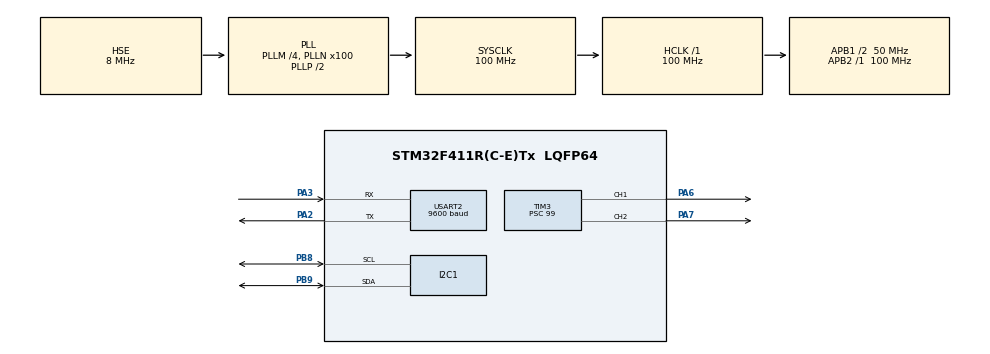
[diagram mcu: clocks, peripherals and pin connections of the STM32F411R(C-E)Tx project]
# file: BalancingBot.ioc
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Dma.Request0=USART2_RX
Dma.USART2_RX.0.Direction=DMA_PERIPH_TO_MEMORY
Dma.USART2_RX.0.FIFOMode=DMA_FIFOMODE_DISABLE
Dma.USART2_RX.0.Instance=DMA1_Stream5
Dma.USART2_RX.0.MemDataAlignment=DMA_MDATAALIGN_BYTE
Dma.USART2_RX.0.MemInc=DMA_MINC_ENABLE
Dma.USART2_RX.0.Mode=DMA_NORMAL
Dma.USART2_RX.0.PeriphDataAlignment=DMA_PDATAALIGN_BYTE
Dma.USART2_RX.0.PeriphInc=DMA_PINC_DISABLE
Dma.USART2_RX.0.Priority=DMA_PRIORITY_LOW
I2C1.NoStretchMode=I2C_NOSTRETCH_ENABLE
Mcu.Family=STM32F4
Mcu.Name=STM32F411R(C-E)Tx
Mcu.Package=LQFP64
NVIC.DMA1_Stream5_IRQn=true\:0\:0\:false\:false\:true\:false\:true\:true
NVIC.PriorityGroup=NVIC_PRIORITYGROUP_4
NVIC.USART2_IRQn=true\:0\:0\:false\:false\:true\:true\:true\:true
PA13.Mode=Serial_Wire
PA13.Signal=SYS_JTMS-SWDIO
PA14.Mode=Serial_Wire
PA14.Signal=SYS_JTCK-SWCLK
PA2.Mode=Asynchronous
PA2.Signal=USART2_TX
PA3.Mode=Asynchronous
PA3.Signal=USART2_RX
PA6.Signal=S_TIM3_CH1
PA7.Signal=S_TIM3_CH2
PB8.Mode=I2C
PB8.Signal=I2C1_SCL
PB9.Mode=I2C
PB9.Signal=I2C1_SDA
PC14-OSC32_IN.Mode=LSE-External-Oscillator
PC14-OSC32_IN.Signal=RCC_OSC32_IN
PC15-OSC32_OUT.Mode=LSE-External-Oscillator
PC15-OSC32_OUT.Signal=RCC_OSC32_OUT
PH0\ -\ OSC_IN.Mode=HSE-External-Oscillator
PH0\ -\ OSC_IN.Signal=RCC_OSC_IN
PH1\ -\ OSC_OUT.Mode=HSE-External-Oscillator
PH1\ -\ OSC_OUT.Signal=RCC_OSC_OUT
ProjectManager.HeapSize=0x200
ProjectManager.StackSize=0x400
ProjectManager.TargetToolchain=STM32CubeIDE
RCC.48MHZClocksFreq_Value=50000000
RCC.AHBFreq_Value=100000000
RCC.APB1CLKDivider=RCC_HCLK_DIV2
RCC.APB1Freq_Value=50000000
RCC.APB1TimFreq_Value=100000000
RCC.APB2Freq_Value=100000000
RCC.APB2TimFreq_Value=100000000
RCC.CortexFreq_Value=100000000
RCC.HCLKFreq_Value=100000000
RCC.HSE_VALUE=8000000
RCC.HSI_VALUE=16000000
RCC.PLLM=4
RCC.PLLN=100
RCC.PLLSourceVirtual=RCC_PLLSOURCE_HSE
RCC.SYSCLKFreq_VALUE=100000000
RCC.SYSCLKSource=RCC_SYSCLKSOURCE_PLLCLK
RCC.VCOOutputFreq_Value=200000000
SH.S_TIM3_CH1.0=TIM3_CH1,PWM Generation1 CH1
SH.S_TIM3_CH2.0=TIM3_CH2,PWM Generation2 CH2
TIM3.AutoReloadPreload=TIM_AUTORELOAD_PRELOAD_ENABLE
TIM3.Channel-PWM\ Generation1\ CH1=TIM_CHANNEL_1
TIM3.Channel-PWM\ Generation2\ CH2=TIM_CHANNEL_2
TIM3.Period=999
TIM3.Prescaler=99
USART2.BaudRate=9600
USART2.VirtualMode=VM_ASYNC
board=custom

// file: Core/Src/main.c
/* USER CODE BEGIN Header */
/**
  ******************************************************************************
  * @file           : main.c
  * @brief          : Main program body
  ******************************************************************************
  * @attention
  *
  * Copyright (c) 2026 STMicroelectronics.
  * All rights reserved.
  *
  * This software is licensed under terms that can be found in the LICENSE file
  * in the root directory of this software component.
  * If no LICENSE file comes with this software, it is provided AS-IS.
  *
  ******************************************************************************
  */
/* USER CODE END Header */
#include "main.h"
/* USER CODE BEGIN Includes */
#include <stdlib.h>

#include "../App/PID_SVC/PID_svc.h"
/* USER CODE END Includes */

I2C_HandleTypeDef hi2c1;

TIM_HandleTypeDef htim3;

UART_HandleTypeDef huart2;
DMA_HandleTypeDef hdma_usart2_rx;

/* USER CODE BEGIN PV */
uint8_t rx_data;
char rx_buffer[20];
uint8_t rx_index = 0;
uint8_t rx_flag = 0;

extern PID_Controller bal_pid;
/* USER CODE END PV */

void SystemClock_Config(void);
static void MX_GPIO_Init(void);
static void MX_DMA_Init(void);
static void MX_I2C1_Init(void);
static void MX_TIM3_Init(void);
static void MX_USART2_UART_Init(void);

int main(void)
{

  /* MCU Configuration--------------------------------------------------------*/

  /* Reset of all peripherals, Initializes the Flash interface and the Systick. */
  HAL_Init();

  /* Configure the system clock */
  SystemClock_Config();

  /* Initialize all configured peripherals */
  MX_GPIO_Init();
  MX_DMA_Init();
  MX_I2C1_Init();
  MX_TIM3_Init();
  MX_USART2_UART_Init();
  /* USER CODE BEGIN 2 */
HAL_UART_Receive_IT(&huart2, &rx_data,1);
  /* USER CODE END 2 */

  /* Infinite loop */
  while (1)
  {

    /* USER CODE BEGIN 3 */
	  if(rx_flag == 1)
	  {
		  float new_value = atof(&rx_buffer[2]);
		  switch(rx_buffer[0])
		  {
			  case 'P' :
				  bal_pid.pid_kp = new_value;
				  break;
			  case 'I' :
				  bal_pid.pid_ki = new_value;
				  bal_pid.i_integral = 0.0f;
				  break;
			  case 'D' :
				  bal_pid.pid_kd = new_value;
				  break;
		  }
		  rx_index = 0;
		  rx_flag = 0;
	  }
  }
  /* USER CODE END 3 */
}

void SystemClock_Config(void)
{
  RCC_OscInitTypeDef RCC_OscInitStruct = {0};
  RCC_ClkInitTypeDef RCC_ClkInitStruct = {0};

  /** Configure the main internal regulator output voltage
  */
  __HAL_RCC_PWR_CLK_ENABLE();
  __HAL_PWR_VOLTAGESCALING_CONFIG(PWR_REGULATOR_VOLTAGE_SCALE1);

  /** Initializes the RCC Oscillators according to the specified parameters
  * in the RCC_OscInitTypeDef structure.
  */
  RCC_OscInitStruct.OscillatorType = RCC_OSCILLATORTYPE_HSE;
  RCC_OscInitStruct.HSEState = RCC_HSE_ON;
  RCC_OscInitStruct.PLL.PLLState = RCC_PLL_ON;
  RCC_OscInitStruct.PLL.PLLSource = RCC_PLLSOURCE_HSE;
  RCC_OscInitStruct.PLL.PLLM = 4;
  RCC_OscInitStruct.PLL.PLLN = 100;
  RCC_OscInitStruct.PLL.PLLP = RCC_PLLP_DIV2;
  RCC_OscInitStruct.PLL.PLLQ = 4;
  if (HAL_RCC_OscConfig(&RCC_OscInitStruct) != HAL_OK)
  {
    Error_Handler();
  }

  /** Initializes the CPU, AHB and APB buses clocks
  */
  RCC_ClkInitStruct.ClockType = RCC_CLOCKTYPE_HCLK|RCC_CLOCKTYPE_SYSCLK
                              |RCC_CLOCKTYPE_PCLK1|RCC_CLOCKTYPE_PCLK2;
  RCC_ClkInitStruct.SYSCLKSource = RCC_SYSCLKSOURCE_PLLCLK;
  RCC_ClkInitStruct.AHBCLKDivider = RCC_SYSCLK_DIV1;
  RCC_ClkInitStruct.APB1CLKDivider = RCC_HCLK_DIV2;
  RCC_ClkInitStruct.APB2CLKDivider = RCC_HCLK_DIV1;

  if (HAL_RCC_ClockConfig(&RCC_ClkInitStruct, FLASH_LATENCY_3) != HAL_OK)
  {
    Error_Handler();
  }
}

static void MX_I2C1_Init(void)
{

  hi2c1.Instance = I2C1;
  hi2c1.Init.ClockSpeed = 100000;
  hi2c1.Init.DutyCycle = I2C_DUTYCYCLE_2;
  hi2c1.Init.OwnAddress1 = 0;
  hi2c1.Init.AddressingMode = I2C_ADDRESSINGMODE_7BIT;
  hi2c1.Init.DualAddressMode = I2C_DUALADDRESS_DISABLE;
  hi2c1.Init.OwnAddress2 = 0;
  hi2c1.Init.GeneralCallMode = I2C_GENERALCALL_DISABLE;
  hi2c1.Init.NoStretchMode = I2C_NOSTRETCH_ENABLE;
  if (HAL_I2C_Init(&hi2c1) != HAL_OK)
  {
    Error_Handler();
  }

}

static void MX_TIM3_Init(void)
{

  TIM_MasterConfigTypeDef sMasterConfig = {0};
  TIM_OC_InitTypeDef sConfigOC = {0};

  htim3.Instance = TIM3;
  htim3.Init.Prescaler = 99;
  htim3.Init.CounterMode = TIM_COUNTERMODE_UP;
  htim3.Init.Period = 999;
  htim3.Init.ClockDivision = TIM_CLOCKDIVISION_DIV1;
  htim3.Init.AutoReloadPreload = TIM_AUTORELOAD_PRELOAD_ENABLE;
  if (HAL_TIM_PWM_Init(&htim3) != HAL_OK)
  {
    Error_Handler();
  }
  sMasterConfig.MasterOutputTrigger = TIM_TRGO_RESET;
  sMasterConfig.MasterSlaveMode = TIM_MASTERSLAVEMODE_DISABLE;
  if (HAL_TIMEx_MasterConfigSynchronization(&htim3, &sMasterConfig) != HAL_OK)
  {
    Error_Handler();
  }
  sConfigOC.OCMode = TIM_OCMODE_PWM1;
  sConfigOC.Pulse = 0;
  sConfigOC.OCPolarity = TIM_OCPOLARITY_HIGH;
  sConfigOC.OCFastMode = TIM_OCFAST_DISABLE;
  if (HAL_TIM_PWM_ConfigChannel(&htim3, &sConfigOC, TIM_CHANNEL_1) != HAL_OK)
  {
    Error_Handler();
  }
  if (HAL_TIM_PWM_ConfigChannel(&htim3, &sConfigOC, TIM_CHANNEL_2) != HAL_OK)
  {
    Error_Handler();
  }
  HAL_TIM_MspPostInit(&htim3);

}

static void MX_USART2_UART_Init(void)
{

  huart2.Instance = USART2;
  huart2.Init.BaudRate = 9600;
  huart2.Init.WordLength = UART_WORDLENGTH_8B;
  huart2.Init.StopBits = UART_STOPBITS_1;
  huart2.Init.Parity = UART_PARITY_NONE;
  huart2.Init.Mode = UART_MODE_TX_RX;
  huart2.Init.HwFlowCtl = UART_HWCONTROL_NONE;
  huart2.Init.OverSampling = UART_OVERSAMPLING_16;
  if (HAL_UART_Init(&huart2) != HAL_OK)
  {
    Error_Handler();
  }

}

static void MX_DMA_Init(void)
{

  /* DMA controller clock enable */
  __HAL_RCC_DMA1_CLK_ENABLE();

  /* DMA interrupt init */
  /* DMA1_Stream5_IRQn interrupt configuration */
  HAL_NVIC_SetPriority(DMA1_Stream5_IRQn, 0, 0);
  HAL_NVIC_EnableIRQ(DMA1_Stream5_IRQn);

}

static void MX_GPIO_Init(void)
{

  /* GPIO Ports Clock Enable */
  __HAL_RCC_GPIOC_CLK_ENABLE();
  __HAL_RCC_GPIOH_CLK_ENABLE();
  __HAL_RCC_GPIOA_CLK_ENABLE();
  __HAL_RCC_GPIOB_CLK_ENABLE();

}

/* USER CODE BEGIN 4 */
void HAL_UART_RxCpltCallback(UART_HandleTypeDef *huart)
{
	if(huart->Instance == USART2)
	{
		if(rx_data == '\n')
		{
			rx_buffer[rx_index] = '\0'; //문장 끝 표시
			rx_flag = 1;
		}
		else
		{
			if(rx_index < 19)
			{
				rx_buffer[rx_index++] = rx_data;
			}
		}
		//다음 글자를 받기 위해 다시 인터럽트 활성화
		HAL_UART_Receive_IT(&huart2, &rx_data, 1);
	}
}
/* USER CODE END 4 */

void Error_Handler(void)
{
  __disable_irq();
  while (1)
  {
  }
}
